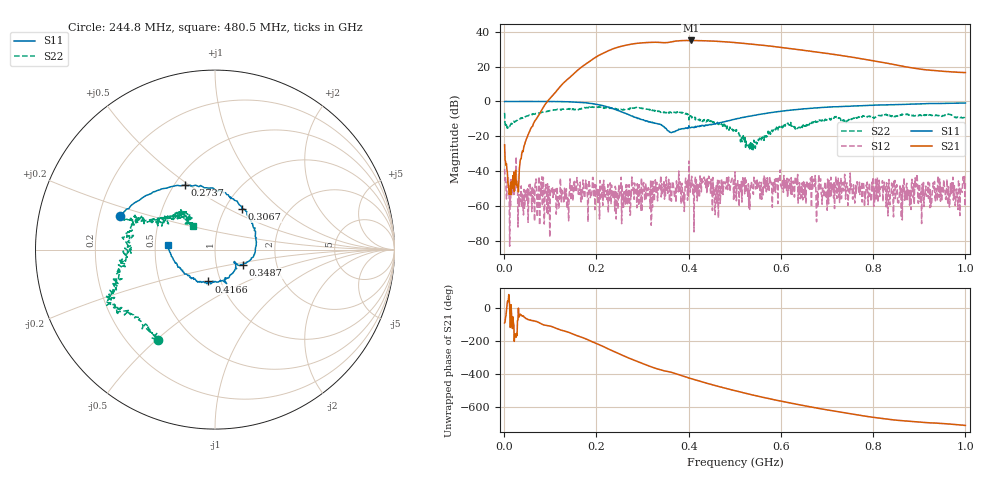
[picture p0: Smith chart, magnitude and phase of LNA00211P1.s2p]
! Created with skrf 1.9.0 (http://scikit-rf.org).
# Hz S RI R 50.0
!freq ReS11 ImS11 ReS21 ImS21 ReS12 ImS12 ReS22 ImS22
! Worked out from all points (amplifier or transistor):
!   1001 points, 1 MHz to 1 GHz, reference 50 ohm
!   highest |S21| = 35.0 dB at 404.6 MHz (marker M1)
!   |S21| within 3 dB of that: 259.9 MHz to 568.2 MHz (308.4 MHz wide, 74.5 % of centre)
!   unconditionally stable (mu >= 1): start of sweep to 96.81 MHz; 297.8 MHz to 378.4 MHz; 401 MHz to end of sweep (the widest 3 of 23)
!   at 166.8 MHz: K = 3.21, MAG = 30.7 dB, |S12| = -57.8 dB
!   at 500.5 MHz: K = 1.19, MAG = 34.5 dB, |S12| = -40.5 dB
!   at 1 GHz: K = 3.00, MAG = 24.0 dB, |S12| = -46.7 dB
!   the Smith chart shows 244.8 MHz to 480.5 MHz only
!   S11 on the Smith chart (normalised r, x): 244.8 MHz: 0.29, +0.16; 273.7 MHz: 0.57, +0.48; 306.7 MHz: 1.19, +0.59; 348.7 MHz: 1.34, -0.23; 416.6 MHz: 0.87, -0.32; 480.5 MHz: 0.58, +0.03
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1000000  0.9879 0.00362  0.000914 -0.0568  -0.00701 0.00927  0.3191 0.3419
1.08892e8  0.512 -0.8471  -0.783 -1.49  0.00232 -0.00189  0.432 -0.364
1.67833e8  -0.2462 -0.8943  -9.678 -0.643  -0.000382 -0.0029  0.0361 -0.6274
2.11789e8  -0.6888 -0.3348  -15.22 17.56  0.00161 -0.00165  -0.1772 -0.6532
2.44756e8  -0.5272 0.1879  0.9044 35.37  -0.000683 -0.00253  -0.3156 -0.5055
2.73727e8  -0.166 0.3587  26.31 34.56  -0.000133 0.000536  -0.5474 -0.3519
3.06694e8  0.1487 0.2274  46.76 13.5  -0.00284 -0.00358  -0.5706 -0.2446
3.34666e8  0.2243 -0.00978  48.52 -9.631  0.000963 0.00246  -0.5106 -0.0665
3.48652e8  0.1543 -0.0842  45.12 -17.8  -0.00121 0.00286  -0.488 0.0141
3.73627e8  0.1153 -0.0874  41.96 -34.26  0.00213 0.00477  -0.4613 0.1633
4.04596e8  0.0309 -0.1733  21.48 -51.85  -0.0018 0.00305  -0.3437 0.1714
4.16584e8  -0.037 -0.1775  12.07 -54.59  0.0056 -0.000369  -0.2973 0.1313
4.45555e8  -0.1695 -0.1345  -9.978 -53.26  -0.000215 0.00463  -0.1777 0.1801
4.8052e8  -0.264 0.0272  -30.83 -41.07  0.00306 -0.000512  -0.1253 0.1325
5.005e8  -0.2741 0.1446  -38.31 -30.43  0.009 -0.00275  -0.1172 0.0848
5.4046e8  -0.1928 0.3434  -42.52 -8.711  0.0019 -0.00101  -0.0483 0.0132
5.88412e8  0.0186 0.4965  -35.1 11.7  0.00244 9.68e-05  -0.1297 -0.0827
6.28372e8  0.2164 0.5345  -24.07 20.73  0.00203 0.0034  -0.1606 -0.1011
6.67333e8  0.4085 0.4895  -12.81 23.83  -0.00557 -0.0041  -0.248 -0.0455
7.53247e8  0.678 0.2748  4.2 18.12  -0.00297 -0.0016  -0.301 0.0337
8.34166e8  0.7967 0.0127  8.708 8.559  -0.00112 -0.0056  -0.3721 0.1039
1e9  0.7221 -0.5299  6.675 0.8413  -0.00457 -0.00061  -0.1315 0.3017
